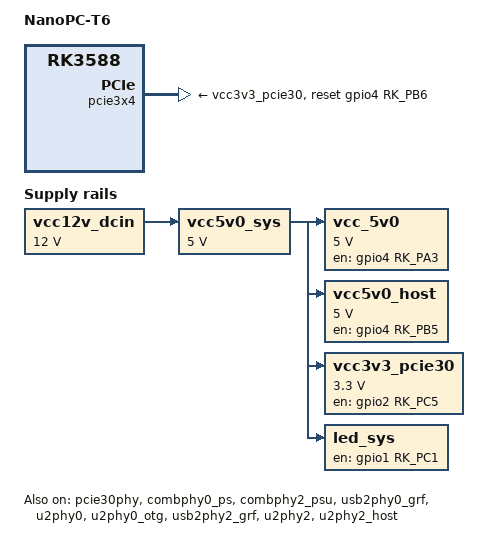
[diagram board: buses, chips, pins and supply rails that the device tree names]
// SPDX-License-Identifier: (GPL-2.0+ OR MIT)
/*
 * Copyright (c) 2021 Rockchip Electronics Co., Ltd
 *
 */

/dts-v1/;
#include "rk3588.dtsi"
#include "rk3588-u-boot.dtsi"
#include <dt-bindings/input/input.h>

/ {
	model = "NanoPC-T6";
	compatible = "nanopc,nanopc-t6", "rockchip,rk3588";

	vcc12v_dcin: vcc12v-dcin {
		u-boot,dm-pre-reloc;
		compatible = "regulator-fixed";
		regulator-name = "vcc12v_dcin";
		regulator-always-on;
		regulator-boot-on;
		regulator-min-microvolt = <12000000>;
		regulator-max-microvolt = <12000000>;
	};

	vcc5v0_sys: vcc5v0-sys {
		u-boot,dm-pre-reloc;
		compatible = "regulator-fixed";
		regulator-name = "vcc5v0_sys";
		regulator-always-on;
		regulator-boot-on;
		regulator-min-microvolt = <5000000>;
		regulator-max-microvolt = <5000000>;
		vin-supply = <&vcc12v_dcin>;
	};

	vcc_5v0: vcc-5v0 {
		u-boot,dm-pre-reloc;
		compatible = "regulator-fixed";
		regulator-name = "vcc_5v0";
		regulator-min-microvolt = <5000000>;
		regulator-max-microvolt = <5000000>;
		regulator-boot-on;
		regulator-always-on;
		enable-active-high;
		gpio = <&gpio4 RK_PA3 GPIO_ACTIVE_HIGH>;
		pinctrl-names = "default";
		pinctrl-0 = <&vcc_5v0_en>;
		vin-supply = <&vcc5v0_sys>;
	};

	vcc5v0_host: vcc5v0-host-regulator {
		u-boot,dm-pre-reloc;
		compatible = "regulator-fixed";
		regulator-name = "vcc5v0_host";
		regulator-boot-on;
		regulator-always-on;
		regulator-min-microvolt = <5000000>;
		regulator-max-microvolt = <5000000>;
		enable-active-high;
		gpio = <&gpio4 RK_PB5 GPIO_ACTIVE_HIGH>;
		pinctrl-names = "default";
		pinctrl-0 = <&vcc5v0_host_en>;
		vin-supply = <&vcc5v0_sys>;
	};

	vcc3v3_pcie30: vcc3v3-pcie30 {
		u-boot,dm-pre-reloc;
		compatible = "regulator-fixed";
		regulator-name = "vcc3v3_pcie30";
		regulator-min-microvolt = <3300000>;
		regulator-max-microvolt = <3300000>;
		enable-active-high;
		gpio = <&gpio2 RK_PC5 GPIO_ACTIVE_HIGH>;
		regulator-boot-on;
		regulator-always-on;
		startup-delay-us = <50000>;
		vin-supply = <&vcc5v0_sys>;
	};

	led_sys: led-sys {
		u-boot,dm-pre-reloc;
		compatible = "regulator-fixed";
		regulator-name = "led_sys";
		enable-active-high;
		gpio = <&gpio1 RK_PC1 GPIO_ACTIVE_HIGH>; // Turn on user led
		regulator-boot-on;
		regulator-always-on;
		vin-supply = <&vcc5v0_sys>;
	};
};

&pcie3x4 {
	u-boot,dm-pre-reloc;
	vpcie3v3-supply = <&vcc3v3_pcie30>;
	reset-gpios = <&gpio4 RK_PB6 GPIO_ACTIVE_HIGH>;
	status = "okay";
};

&pcie30phy {
	u-boot,dm-pre-reloc;
	status = "okay";
};

&combphy0_ps {
	u-boot,dm-pre-reloc;
	status = "okay";
};

&combphy2_psu {
	u-boot,dm-pre-reloc;
	status = "okay";
};

&usb2phy0_grf {
	status = "okay";
	u-boot,dm-pre-reloc;
};

&u2phy0 {
	status = "okay";
	u-boot,dm-pre-reloc;
};

&u2phy0_otg {
	status = "okay";
	u-boot,dm-pre-reloc;
};

&usb2phy2_grf {
	status = "okay";
	u-boot,dm-pre-reloc;
};

&u2phy2 {
	status = "okay";
	u-boot,dm-pre-reloc;
};

&u2phy2_host {
	status = "okay";
	u-boot,dm-pre-reloc;
};

&pinctrl {
	usb {
		u-boot,dm-pre-reloc;
		vcc5v0_host_en: vcc5v0-host-en {
			u-boot,dm-pre-reloc;
			rockchip,pins = <4 RK_PB5 RK_FUNC_GPIO &pcfg_pull_none>;
		};
	};

	power {
		u-boot,dm-spl;
		vcc_5v0_en: vcc-5v0-en {
			u-boot,dm-spl;
			rockchip,pins = <4 RK_PA3 RK_FUNC_GPIO &pcfg_pull_none>;
		};
	};
};
